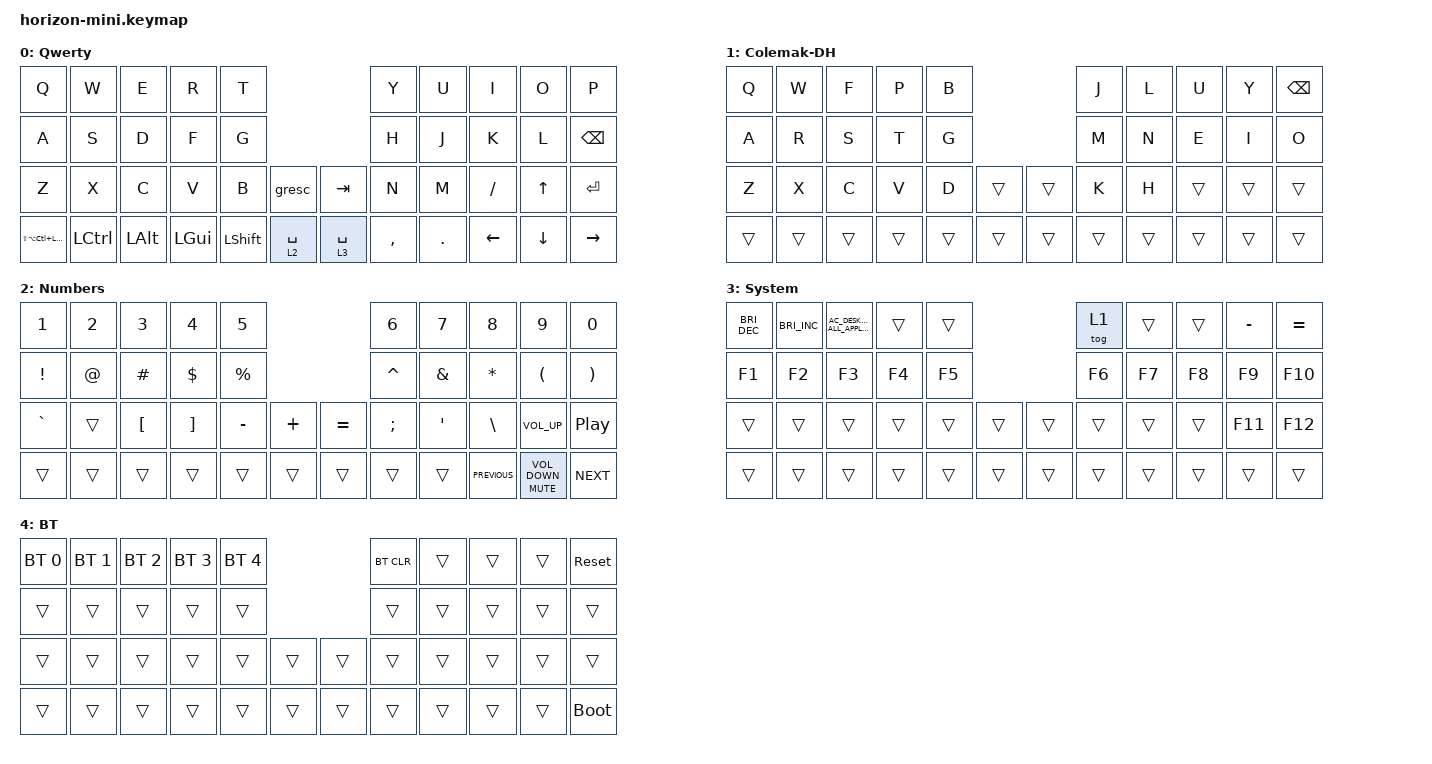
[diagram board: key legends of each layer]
/*
 * Copyright (c) 2021 The ZMK Contributors
 *
 * SPDX-License-Identifier: MIT
 */

#include <behaviors.dtsi>
#include <dt-bindings/zmk/bt.h>
#include <dt-bindings/zmk/keys.h>

&lt {
    tapping-term-ms = <180>;
    flavor = "balanced";
};

/ {
    combos {
        compatible = "zmk,combos";

        combo_esc {
            bindings = <&gresc>;
            key-positions = <0 1>;
        };

        combo_tab {
            bindings = <&kp TAB>;
            key-positions = <10 11>;
        };

        combo_shift {
            bindings = <&shiftcaps>;
            key-positions = <20 21>;
        };

        combo_slash {
            bindings = <&kp BACKSLASH>;
            key-positions = <8 9>;
        };

        left_bracket {
            bindings = <&kp LEFT_BRACKET>;
            key-positions = <17 16>;
        };

        right_bracket {
            bindings = <&kp RIGHT_BRACKET>;
            key-positions = <18 19>;
        };
    };

    behaviors {
        shiftcaps: shiftcaps {
            compatible = "zmk,behavior-tap-dance";
            label = "SHIFTCAPS";
            #binding-cells = <0>;
            bindings = <&kp LEFT_SHIFT>, <&caps_word>;
        };
    };

    keymap {
        compatible = "zmk,keymap";

        qwerty {
            bindings = <
&kp Q                 &kp W      &kp E     &kp R     &kp T                                     &kp Y      &kp U       &kp I      &kp O         &kp P
&kp A                 &kp S      &kp D     &kp F     &kp G                                     &kp H      &kp J       &kp K      &kp L         &kp BACKSPACE
&kp Z                 &kp X      &kp C     &kp V     &kp B           &gresc       &kp TAB      &kp N      &kp M       &kp SLASH  &kp UP_ARROW  &kp RETURN
&kp LS(LA(LC(LGUI)))  &kp LCTRL  &kp LALT  &kp LGUI  &kp LEFT_SHIFT  &lt 2 SPACE  &lt 3 SPACE  &kp COMMA  &kp PERIOD  &kp LEFT   &kp DOWN      &kp RIGHT
            >;

            label = "Qwerty";
        };

        colemak-dh {
            bindings = <
&kp Q   &kp W   &kp F   &kp P   &kp B                   &kp J   &kp L   &kp U   &kp Y   &kp BACKSPACE
&kp A   &kp R   &kp S   &kp T   &kp G                   &kp M   &kp N   &kp E   &kp I   &kp O
&kp Z   &kp X   &kp C   &kp V   &kp D   &trans  &trans  &kp K   &kp H   &trans  &trans  &trans
&trans  &trans  &trans  &trans  &trans  &trans  &trans  &trans  &trans  &trans  &trans  &trans
            >;

            label = "Colemak-DH";
        };

        left {
            bindings = <
&kp N1           &kp N2       &kp N3            &kp N4             &kp N5                            &kp N6         &kp N7            &kp N8          &kp N9                    &kp N0
&kp EXCLAMATION  &kp AT_SIGN  &kp POUND         &kp DOLLAR         &kp PERCENT                       &kp CARET      &kp AMPERSAND     &kp ASTERISK    &kp LEFT_PARENTHESIS      &kp RIGHT_PARENTHESIS
&kp GRAVE        &trans       &kp LEFT_BRACKET  &kp RIGHT_BRACKET  &kp MINUS    &kp PLUS  &kp EQUAL  &kp SEMICOLON  &kp SINGLE_QUOTE  &kp BACKSLASH   &kp C_VOLUME_UP           &kp C_PLAY_PAUSE
&trans           &trans       &trans            &trans             &trans       &trans    &trans     &trans         &trans            &kp C_PREVIOUS  &mt K_MUTE C_VOLUME_DOWN  &kp C_NEXT
            >;

            label = "Numbers";
        };

        right {
            bindings = <
&kp C_BRIGHTNESS_DEC  &kp C_BRIGHTNESS_INC  &kp C_AC_DESKTOP_SHOW_ALL_APPLICATIONS  &trans  &trans                  &tog 1  &trans  &trans  &kp MINUS  &kp EQUAL
&kp F1                &kp F2                &kp F3                                  &kp F4  &kp F5                  &kp F6  &kp F7  &kp F8  &kp F9     &kp F10
&trans                &trans                &trans                                  &trans  &trans  &trans  &trans  &trans  &trans  &trans  &kp F11    &kp F12
&trans                &trans                &trans                                  &trans  &trans  &trans  &trans  &trans  &trans  &trans  &trans     &trans
            >;

            label = "System";
        };

        bluetooth {
            bindings = <
&bt BT_SEL 0  &bt BT_SEL 1  &bt BT_SEL 2  &bt BT_SEL 3  &bt BT_SEL 4                  &bt BT_CLR  &trans  &trans  &trans  &sys_reset
&trans        &trans        &trans        &trans        &trans                        &trans      &trans  &trans  &trans  &trans
&trans        &trans        &trans        &trans        &trans        &trans  &trans  &trans      &trans  &trans  &trans  &trans
&trans        &trans        &trans        &trans        &trans        &trans  &trans  &trans      &trans  &trans  &trans  &bootloader
            >;

            label = "BT";
        };
    };

    conditional_layers {
        compatible = "zmk,conditional-layers";

        Bluetooth {
            if-layers = <2 3>;
            then-layer = <4>;
        };
    };
};
